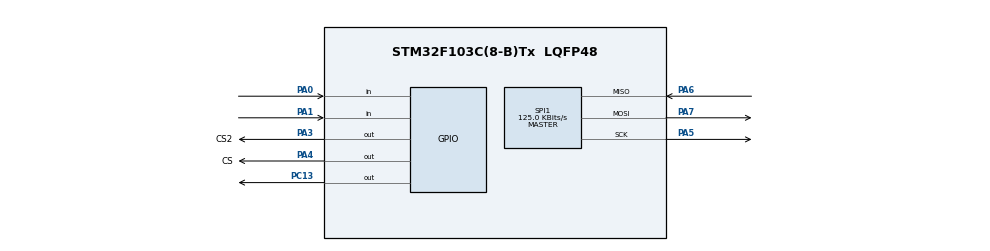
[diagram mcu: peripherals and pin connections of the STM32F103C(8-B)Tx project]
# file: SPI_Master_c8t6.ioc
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Mcu.Family=STM32F1
Mcu.Name=STM32F103C(8-B)Tx
Mcu.Package=LQFP48
NVIC.PriorityGroup=NVIC_PRIORITYGROUP_4
NVIC.SPI1_IRQn=true\:0\:0\:false\:false\:true\:true\:true\:true
PA0-WKUP.GPIO_PuPd=GPIO_PULLUP
PA0-WKUP.Signal=GPIO_Input
PA1.GPIO_PuPd=GPIO_PULLUP
PA1.Signal=GPIO_Input
PA13.Mode=Serial_Wire
PA13.Signal=SYS_JTMS-SWDIO
PA14.Mode=Serial_Wire
PA14.Signal=SYS_JTCK-SWCLK
PA3.GPIO_Label=CS2
PA3.PinState=GPIO_PIN_SET
PA3.Signal=GPIO_Output
PA4.GPIO_Label=CS
PA4.PinState=GPIO_PIN_SET
PA4.Signal=GPIO_Output
PA5.Mode=Full_Duplex_Master
PA5.Signal=SPI1_SCK
PA6.Mode=Full_Duplex_Master
PA6.Signal=SPI1_MISO
PA7.Mode=Full_Duplex_Master
PA7.Signal=SPI1_MOSI
PC13-TAMPER-RTC.Signal=GPIO_Output
ProjectManager.HeapSize=0x200
ProjectManager.StackSize=0x400
ProjectManager.TargetToolchain=STM32CubeIDE
RCC.APB1Freq_Value=8000000
RCC.APB2Freq_Value=8000000
SPI1.BaudRatePrescaler=SPI_BAUDRATEPRESCALER_64
SPI1.CalculateBaudRate=125.0 KBits/s
SPI1.Direction=SPI_DIRECTION_2LINES
SPI1.Mode=SPI_MODE_MASTER
SPI1.VirtualType=VM_MASTER
board=custom

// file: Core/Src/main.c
/* USER CODE BEGIN Header */
/**
  ******************************************************************************
  * @file           : main.c
  * @brief          : Main program body
  ******************************************************************************
  * @attention
  *
  * Copyright (c) 2025 STMicroelectronics.
  * All rights reserved.
  *
  * This software is licensed under terms that can be found in the LICENSE file
  * in the root directory of this software component.
  * If no LICENSE file comes with this software, it is provided AS-IS.
  *
  ******************************************************************************
  */
/* USER CODE END Header */
#include "main.h"

/* USER CODE BEGIN Includes */
#include <stdio.h>
#define sizeofBuff 12
uint8_t u8_SPI1_TxBuff[sizeofBuff] = "Master send";
uint8_t u8_SPI1_RxBuff[sizeofBuff];
uint8_t u8_SPI2_RxBuff[sizeofBuff];
uint8_t Count;
uint8_t state = 1;

/* USER CODE END Includes */

SPI_HandleTypeDef hspi1;

void SystemClock_Config(void);
static void MX_GPIO_Init(void);
static void MX_SPI1_Init(void);

int main(void)
{

  /* MCU Configuration--------------------------------------------------------*/

  /* Reset of all peripherals, Initializes the Flash interface and the Systick. */
  HAL_Init();

  /* Configure the system clock */
  SystemClock_Config();

  /* Initialize all configured peripherals */
  MX_GPIO_Init();
  MX_SPI1_Init();

  /* Infinite loop */
  /* USER CODE BEGIN WHILE */
  while (1)
  {

	  if(HAL_GPIO_ReadPin(GPIOA, GPIO_PIN_1) == 0) //Khi bấm nút A1
	 	{
		  while(HAL_GPIO_ReadPin(GPIOA, GPIO_PIN_1) == 0) {}
	 	  sprintf((char*)u8_SPI1_TxBuff, "A hello B\n");
	 	  HAL_GPIO_WritePin(CS_GPIO_Port, CS_Pin, GPIO_PIN_RESET);
	 	  HAL_SPI_TransmitReceive(&hspi1, u8_SPI1_TxBuff, u8_SPI1_RxBuff, sizeofBuff, 100);
	 				HAL_GPIO_WritePin(CS_GPIO_Port, CS_Pin, GPIO_PIN_SET);
	 				state = 1;
	 	}
	 	else if(HAL_GPIO_ReadPin(GPIOA,GPIO_PIN_0) == 0)//Khi bấm nút A0
	 	{
	 		while(HAL_GPIO_ReadPin(GPIOA, GPIO_PIN_0) == 0) {}
	 		sprintf((char*)u8_SPI1_TxBuff, "A hello C\n");
	 		HAL_GPIO_WritePin(CS2_GPIO_Port, CS2_Pin, GPIO_PIN_RESET);
		 	  HAL_SPI_TransmitReceive(&hspi1, u8_SPI1_TxBuff, u8_SPI1_RxBuff, sizeofBuff, 100);
	 			  		HAL_GPIO_WritePin(CS2_GPIO_Port, CS2_Pin, GPIO_PIN_SET);
	 			  		state =2;
	 	}

    /* USER CODE END WHILE */

  }
}

void SystemClock_Config(void)
{
  RCC_OscInitTypeDef RCC_OscInitStruct = {0};
  RCC_ClkInitTypeDef RCC_ClkInitStruct = {0};

  /** Initializes the RCC Oscillators according to the specified parameters
  * in the RCC_OscInitTypeDef structure.
  */
  RCC_OscInitStruct.OscillatorType = RCC_OSCILLATORTYPE_HSI;
  RCC_OscInitStruct.HSIState = RCC_HSI_ON;
  RCC_OscInitStruct.HSICalibrationValue = RCC_HSICALIBRATION_DEFAULT;
  RCC_OscInitStruct.PLL.PLLState = RCC_PLL_NONE;
  if (HAL_RCC_OscConfig(&RCC_OscInitStruct) != HAL_OK)
  {
    Error_Handler();
  }

  /** Initializes the CPU, AHB and APB buses clocks
  */
  RCC_ClkInitStruct.ClockType = RCC_CLOCKTYPE_HCLK|RCC_CLOCKTYPE_SYSCLK
                              |RCC_CLOCKTYPE_PCLK1|RCC_CLOCKTYPE_PCLK2;
  RCC_ClkInitStruct.SYSCLKSource = RCC_SYSCLKSOURCE_HSI;
  RCC_ClkInitStruct.AHBCLKDivider = RCC_SYSCLK_DIV1;
  RCC_ClkInitStruct.APB1CLKDivider = RCC_HCLK_DIV1;
  RCC_ClkInitStruct.APB2CLKDivider = RCC_HCLK_DIV1;

  if (HAL_RCC_ClockConfig(&RCC_ClkInitStruct, FLASH_LATENCY_0) != HAL_OK)
  {
    Error_Handler();
  }
}

static void MX_SPI1_Init(void)
{

  /* SPI1 parameter configuration*/
  hspi1.Instance = SPI1;
  hspi1.Init.Mode = SPI_MODE_MASTER;
  hspi1.Init.Direction = SPI_DIRECTION_2LINES;
  hspi1.Init.DataSize = SPI_DATASIZE_8BIT;
  hspi1.Init.CLKPolarity = SPI_POLARITY_LOW;
  hspi1.Init.CLKPhase = SPI_PHASE_1EDGE;
  hspi1.Init.NSS = SPI_NSS_SOFT;
  hspi1.Init.BaudRatePrescaler = SPI_BAUDRATEPRESCALER_64;
  hspi1.Init.FirstBit = SPI_FIRSTBIT_MSB;
  hspi1.Init.TIMode = SPI_TIMODE_DISABLE;
  hspi1.Init.CRCCalculation = SPI_CRCCALCULATION_DISABLE;
  hspi1.Init.CRCPolynomial = 10;
  if (HAL_SPI_Init(&hspi1) != HAL_OK)
  {
    Error_Handler();
  }

}

static void MX_GPIO_Init(void)
{
  GPIO_InitTypeDef GPIO_InitStruct = {0};

  /* GPIO Ports Clock Enable */
  __HAL_RCC_GPIOC_CLK_ENABLE();
  __HAL_RCC_GPIOA_CLK_ENABLE();

  /*Configure GPIO pin Output Level */
  HAL_GPIO_WritePin(GPIOC, GPIO_PIN_13, GPIO_PIN_RESET);

  /*Configure GPIO pin Output Level */
  HAL_GPIO_WritePin(GPIOA, CS2_Pin|CS_Pin, GPIO_PIN_SET);

  /*Configure GPIO pin : PC13 */
  GPIO_InitStruct.Pin = GPIO_PIN_13;
  GPIO_InitStruct.Mode = GPIO_MODE_OUTPUT_PP;
  GPIO_InitStruct.Pull = GPIO_NOPULL;
  GPIO_InitStruct.Speed = GPIO_SPEED_FREQ_LOW;
  HAL_GPIO_Init(GPIOC, &GPIO_InitStruct);

  /*Configure GPIO pins : PA0 PA1 */
  GPIO_InitStruct.Pin = GPIO_PIN_0|GPIO_PIN_1;
  GPIO_InitStruct.Mode = GPIO_MODE_INPUT;
  GPIO_InitStruct.Pull = GPIO_PULLUP;
  HAL_GPIO_Init(GPIOA, &GPIO_InitStruct);

  /*Configure GPIO pins : CS2_Pin CS_Pin */
  GPIO_InitStruct.Pin = CS2_Pin|CS_Pin;
  GPIO_InitStruct.Mode = GPIO_MODE_OUTPUT_PP;
  GPIO_InitStruct.Pull = GPIO_NOPULL;
  GPIO_InitStruct.Speed = GPIO_SPEED_FREQ_LOW;
  HAL_GPIO_Init(GPIOA, &GPIO_InitStruct);

}

void Error_Handler(void)
{
  __disable_irq();
  while (1)
  {
  }
}
